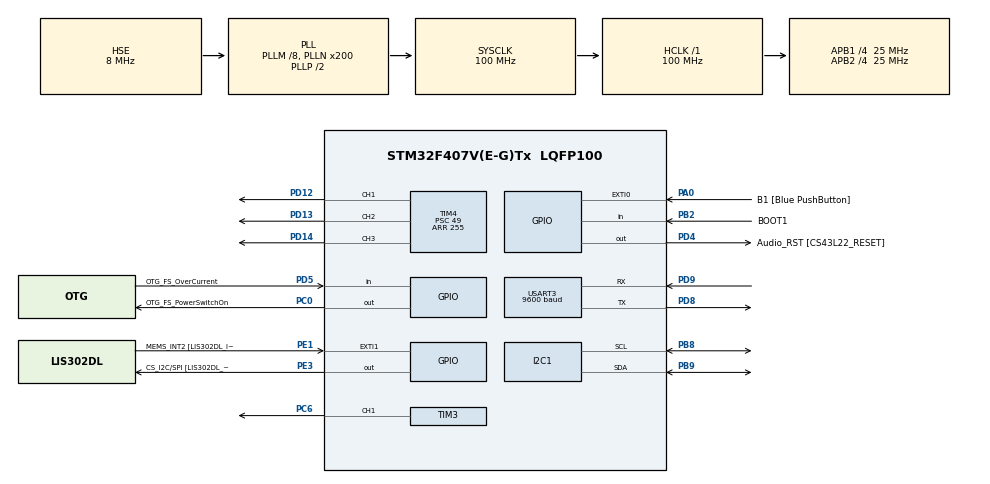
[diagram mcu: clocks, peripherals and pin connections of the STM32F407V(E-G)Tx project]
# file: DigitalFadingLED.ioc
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Mcu.Family=STM32F4
PA11.GPIO_Speed=GPIO_SPEED_FREQ_LOW
NVIC.USART3_IRQn=true\:0\:0\:false\:false\:true\:true\:true
PC3.GPIO_Mode=GPIO_MODE_AF_PP
PH0-OSC_IN.Signal=RCC_OSC_IN
RCC.CortexFreq_Value=100000000
PC10.GPIO_PuPd=GPIO_NOPULL
PB10.GPIO_Speed=GPIO_SPEED_FREQ_LOW
PB10.GPIO_PuPd=GPIO_NOPULL
PA10.GPIO_PuPd=GPIO_NOPULL
PC10.Signal=I2S3_CK
PC12.Signal=I2S3_SD
PA14.GPIO_Label=SWCLK
PA7.GPIO_Mode=GPIO_MODE_AF_PP
PC0.GPIO_Label=OTG_FS_PowerSwitchOn
PA6.GPIO_Label=SPI1_MISO [LIS302DL_SDO]
PC10.GPIO_Speed=GPIO_SPEED_FREQ_LOW
PA11.GPIO_PuPd=GPIO_NOPULL
PD9.Mode=Asynchronous
PC15-OSC32_OUT.GPIO_Label=PC15-OSC32_OUT
PC3.GPIO_Speed=GPIO_SPEED_FREQ_LOW
RCC.SYSCLKSource=RCC_SYSCLKSOURCE_PLLCLK
ProjectManager.StackSize=0x400
PA6.GPIO_Mode=GPIO_MODE_AF_PP
VP_TIM7_VS_ClockSourceINT.Mode=Enable_Timer
PD13.Signal=S_TIM4_CH2
PD14.GPIO_Speed=GPIO_SPEED_FREQ_HIGH
PA12.Signal=USB_OTG_FS_DP
USART3.BaudRate=9600
PC6.GPIO_ModeDefaultPP=GPIO_MODE_AF_OD
RCC.HCLKFreq_Value=100000000
PD4.Signal=GPIO_Output
RCC.APB2TimFreq_Value=50000000
TIM3.Period=1000
PC7.Signal=I2S3_MCK
PC3.Signal=I2S2_SD
TIM7.Period=25000
PD8.Signal=USART3_TX
PE1.Signal=GPXTI1
RCC.AHBFreq_Value=100000000
PH0-OSC_IN.Mode=HSE-External-Oscillator
PH0-OSC_IN.GPIO_Label=PH0-OSC_IN
TIM3.Channel-PWM\ Generation1\ CH1=TIM_CHANNEL_1
PA9.GPIO_Mode=GPIO_MODE_INPUT
RCC.HSE_VALUE=8000000
TIM4.Channel-PWM\ Generation3\ CH3=TIM_CHANNEL_3
PA4.GPIO_PuPd=GPIO_NOPULL
PB2.Signal=GPIO_Input
PB3.Mode=Trace_Asynchronous_SW
PA4.GPIO_Speed=GPIO_SPEED_FREQ_LOW
PA6.GPIO_PuPd=GPIO_NOPULL
PA14.Mode=Trace_Asynchronous_SW
PA5.GPIO_PuPd=GPIO_NOPULL
PA10.GPIO_Label=OTG_FS_ID
PC7.GPIO_Mode=GPIO_MODE_AF_PP
PD5.GPIO_Mode=GPIO_MODE_INPUT
SH.S_TIM4_CH2.0=TIM4_CH2,PWM Generation2 CH2
PD14.GPIO_PuPd=GPIO_NOPULL
SH.S_TIM3_CH1.0=TIM3_CH1,PWM Generation1 CH1
TIM4.Period=255
PB2.GPIO_PuPd=GPIO_NOPULL
PH1-OSC_OUT.Mode=HSE-External-Oscillator
Mcu.Package=LQFP100
PB9.Signal=I2C1_SDA
PA6.Signal=SPI1_MISO
PD12.Signal=S_TIM4_CH1
PD5.GPIO_Label=OTG_FS_OverCurrent
PA10.Signal=USB_OTG_FS_ID
PA10.GPIO_Speed=GPIO_SPEED_FREQ_LOW
RCC.APB2CLKDivider=RCC_HCLK_DIV4
SH.S_TIM4_CH1.0=TIM4_CH1,PWM Generation1 CH1
RCC.APB1TimFreq_Value=50000000
PC14-OSC32_IN.GPIO_Label=PC14-OSC32_IN
PC12.GPIO_PuPd=GPIO_NOPULL
PA6.GPIO_Speed=GPIO_SPEED_FREQ_LOW
PC0.GPIO_PuPd=GPIO_NOPULL
PA12.GPIO_PuPd=GPIO_NOPULL
PA4.GPIO_Label=I2S3_WS [CS43L22_LRCK]
PC6.GPIO_Speed=GPIO_SPEED_FREQ_HIGH
NVIC.TIM7_IRQn=true\:0\:0\:false\:false\:true\:true\:true
PC0.PinState=GPIO_PIN_SET
PA12.GPIO_Speed=GPIO_SPEED_FREQ_LOW
PB3.GPIO_Label=SWO
RCC.PLLSourceVirtual=RCC_PLLSOURCE_HSE
TIM4.Channel-PWM\ Generation1\ CH1=TIM_CHANNEL_1
PD12.GPIO_Speed=GPIO_SPEED_FREQ_HIGH
PC10.GPIO_Label=I2S3_SCK [CS43L22_SCLK]
PA9.GPIO_Label=VBUS_FS
PC6.Signal=S_TIM3_CH1
PA11.GPIO_Label=OTG_FS_DM
PE1.GPIO_PuPd=GPIO_NOPULL
PD9.Signal=USART3_RX
PD5.Signal=GPIO_Input
PC0.Signal=GPIO_Output
PE1.GPIO_ModeDefaultEXTI=GPIO_MODE_EVT_RISING
RCC.APB1CLKDivider=RCC_HCLK_DIV4
PC14-OSC32_IN.Signal=RCC_OSC32_IN
PA9.GPIO_PuPd=GPIO_NOPULL
PA12.GPIO_Label=OTG_FS_DP
PA0-WKUP.GPIO_Label=B1 [Blue PushButton]
PA0-WKUP.Signal=GPXTI0
PA10.GPIO_Mode=GPIO_MODE_AF_PP
PA13.Signal=SYS_JTMS-SWDIO
PC10.GPIO_Mode=GPIO_MODE_AF_PP
PD4.GPIO_PuPd=GPIO_NOPULL
PC0.GPIO_Speed=GPIO_SPEED_FREQ_LOW
PB10.GPIO_Mode=GPIO_MODE_AF_PP
ProjectManager.TargetToolchain=STM32CubeIDE
PB10.GPIO_Label=CLK_IN [MP45DT02_CLK]
I2C1.I2C_Mode=I2C_Fast
SH.S_TIM4_CH3.0=TIM4_CH3,PWM Generation3 CH3
PB9.Mode=I2C
PA9.Signal=USB_OTG_FS_VBUS
PC7.GPIO_PuPd=GPIO_NOPULL
TIM4.Prescaler=49
RCC.LSE_VALUE=32768
PC15-OSC32_OUT.Signal=RCC_OSC32_OUT
PD8.Mode=Asynchronous
PA7.GPIO_PuPd=GPIO_NOPULL
PB10.Signal=I2S2_CK
PA5.Signal=SPI1_SCK
TIM7.Prescaler=19
board=STM32F407G-DISC1
PD13.GPIO_Speed=GPIO_SPEED_FREQ_HIGH
PC7.GPIO_Speed=GPIO_SPEED_FREQ_LOW
RCC.VCOOutputFreq_Value=200000000
PE1.GPIO_Label=MEMS_INT2 [LIS302DL_INT2]
PA7.GPIO_Speed=GPIO_SPEED_FREQ_LOW
PA12.GPIO_Mode=GPIO_MODE_AF_PP
PA4.GPIO_Mode=GPIO_MODE_AF_PP
TIM4.Channel-PWM\ Generation2\ CH2=TIM_CHANNEL_2
RCC.APB2Freq_Value=25000000
PB2.GPIO_Mode=GPIO_MODE_INPUT
PD4.GPIO_Label=Audio_RST [CS43L22_RESET]
PD4.GPIO_Speed=GPIO_SPEED_FREQ_LOW
PE3.GPIO_PuPd=GPIO_NOPULL
PH1-OSC_OUT.Signal=RCC_OSC_OUT
PD13.GPIO_PuPd=GPIO_NOPULL
PD5.GPIO_PuPd=GPIO_NOPULL
PH1-OSC_OUT.GPIO_Label=PH1-OSC_OUT
PA13.Mode=Trace_Asynchronous_SW
Mcu.Name=STM32F407V(E-G)Tx
PA13.GPIO_Label=SWDIO
PC7.GPIO_Label=I2S3_MCK [CS43L22_MCLK]
PD14.Signal=S_TIM4_CH3
RCC.48MHZClocksFreq_Value=28571428.57142857
PB3.Signal=SYS_JTDO-SWO
PA4.Signal=I2S3_WS
RCC.SYSCLKFreq_VALUE=100000000
PC12.GPIO_Mode=GPIO_MODE_AF_PP
PA7.GPIO_Label=SPI1_MOSI [LIS302DL_SDA/SDI/SDO]
PA5.GPIO_Label=SPI1_SCK [LIS302DL_SCL/SPC]
USART3.VirtualMode=VM_ASYNC
PE3.GPIO_Speed=GPIO_SPEED_FREQ_LOW
PC12.GPIO_Label=I2S3_SD [CS43L22_SDIN]
PA11.Signal=USB_OTG_FS_DM
PA14.Signal=SYS_JTCK-SWCLK
PB2.GPIO_Label=BOOT1
ProjectManager.HeapSize=0x200
RCC.HSI_VALUE=16000000
PA5.GPIO_Speed=GPIO_SPEED_FREQ_LOW
RCC.PLLQ=7
NVIC.PriorityGroup=NVIC_PRIORITYGROUP_0
RCC.PLLM=8
PB8.Mode=I2C
RCC.PLLN=200
PE3.Signal=GPIO_Output
PB8.Signal=I2C1_SCL
PE3.GPIO_Label=CS_I2C/SPI [LIS302DL_CS_I2C/SPI]
PC3.GPIO_Label=PDM_OUT [MP45DT02_DOUT]
PA11.GPIO_Mode=GPIO_MODE_AF_PP
RCC.APB1Freq_Value=25000000
PA5.GPIO_Mode=GPIO_MODE_AF_PP
PC12.GPIO_Speed=GPIO_SPEED_FREQ_LOW
PC3.GPIO_PuPd=GPIO_NOPULL
PD12.GPIO_PuPd=GPIO_NOPULL
PA7.Signal=SPI1_MOSI

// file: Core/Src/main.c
/* USER CODE BEGIN Header */
/**
  ******************************************************************************
  * @file           : main.c
  * @brief          : Main program body
  ******************************************************************************
  * @attention
  *
  * <h2><center>&copy; Copyright (c) 2021 STMicroelectronics.
  * All rights reserved.</center></h2>
  *
  * This software component is licensed by ST under BSD 3-Clause license,
  * the "License"; You may not use this file except in compliance with the
  * License. You may obtain a copy of the License at:
  *                        opensource.org/licenses/BSD-3-Clause
  *
  ******************************************************************************
  */
/* USER CODE END Header */
#include "main.h"
#include "i2c.h"
#include "tim.h"
#include "usart.h"
#include "gpio.h"

/* USER CODE BEGIN Includes */
#include "serial_shell.h"
#include "34AA02_EEPROM.h"
/* USER CODE END Includes */

/* USER CODE BEGIN PV */
uint8_t buf[1];
uint8_t len = sizeof(buf);
/* USER CODE END PV */

void SystemClock_Config(void);

int main(void)
{

  /* MCU Configuration--------------------------------------------------------*/

  /* Reset of all peripherals, Initializes the Flash interface and the Systick. */
  HAL_Init();

  /* Configure the system clock */
  SystemClock_Config();

  /* Initialize all configured peripherals */
  MX_GPIO_Init();
  MX_TIM3_Init();
  MX_TIM4_Init();
  MX_TIM7_Init();
  MX_USART3_UART_Init();
  MX_I2C1_Init();
  /* USER CODE BEGIN 2 */

  //Start uart rx interrupt
  HAL_UART_Receive_IT(&huart3, buf, len);

  //Start Color channels
  HAL_TIM_PWM_Start(&htim4, TIM_CHANNEL_1);
  HAL_TIM_PWM_Start(&htim4, TIM_CHANNEL_2);
  HAL_TIM_PWM_Start(&htim4, TIM_CHANNEL_3);

  //Start luminance channel
  HAL_TIM_PWM_Start(&htim3, TIM_CHANNEL_1);

  //Start luminance fade value update timer
  HAL_TIM_Base_Start_IT(&htim7);

  //Get Saved state from EEPROM
  uint16_t buf[6] = {0};
  readSavedData(buf, EEPROMADDRESS);

  //setID(buf[0])
  uint8_t startcolors[3] = {(uint8_t)buf[1], (uint8_t)buf[2], (uint8_t)buf[3]};
  SetColorValues(startcolors);
  SetLuminanceValue(buf[4]);
  SetRateValue(buf[5]);

  /* USER CODE END 2 */

  /* Infinite loop */
  /* USER CODE BEGIN WHILE */
  while (1)
  {
      CheckCommand();
      ProcessLuminance();
    /* USER CODE END WHILE */

  }
}

void SystemClock_Config(void)
{
  RCC_OscInitTypeDef RCC_OscInitStruct = {0};
  RCC_ClkInitTypeDef RCC_ClkInitStruct = {0};

  /** Configure the main internal regulator output voltage
  */
  __HAL_RCC_PWR_CLK_ENABLE();
  __HAL_PWR_VOLTAGESCALING_CONFIG(PWR_REGULATOR_VOLTAGE_SCALE1);
  /** Initializes the RCC Oscillators according to the specified parameters
  * in the RCC_OscInitTypeDef structure.
  */
  RCC_OscInitStruct.OscillatorType = RCC_OSCILLATORTYPE_HSE;
  RCC_OscInitStruct.HSEState = RCC_HSE_ON;
  RCC_OscInitStruct.PLL.PLLState = RCC_PLL_ON;
  RCC_OscInitStruct.PLL.PLLSource = RCC_PLLSOURCE_HSE;
  RCC_OscInitStruct.PLL.PLLM = 8;
  RCC_OscInitStruct.PLL.PLLN = 200;
  RCC_OscInitStruct.PLL.PLLP = RCC_PLLP_DIV2;
  RCC_OscInitStruct.PLL.PLLQ = 7;
  if (HAL_RCC_OscConfig(&RCC_OscInitStruct) != HAL_OK)
  {
    Error_Handler();
  }
  /** Initializes the CPU, AHB and APB buses clocks
  */
  RCC_ClkInitStruct.ClockType = RCC_CLOCKTYPE_HCLK|RCC_CLOCKTYPE_SYSCLK
                              |RCC_CLOCKTYPE_PCLK1|RCC_CLOCKTYPE_PCLK2;
  RCC_ClkInitStruct.SYSCLKSource = RCC_SYSCLKSOURCE_PLLCLK;
  RCC_ClkInitStruct.AHBCLKDivider = RCC_SYSCLK_DIV1;
  RCC_ClkInitStruct.APB1CLKDivider = RCC_HCLK_DIV4;
  RCC_ClkInitStruct.APB2CLKDivider = RCC_HCLK_DIV4;

  if (HAL_RCC_ClockConfig(&RCC_ClkInitStruct, FLASH_LATENCY_3) != HAL_OK)
  {
    Error_Handler();
  }
}

/* USER CODE BEGIN 4 */
void HAL_UART_RxCpltCallback(UART_HandleTypeDef *huart){
  ProcessSerial(buf);
  HAL_UART_Receive_IT(&huart3, buf, len);
}
/* USER CODE END 4 */

void Error_Handler(void)
{
  __disable_irq();
  while (1)
  {
  }
}

/************************ (C) COPYRIGHT STMicroelectronics *****END OF FILE****/
